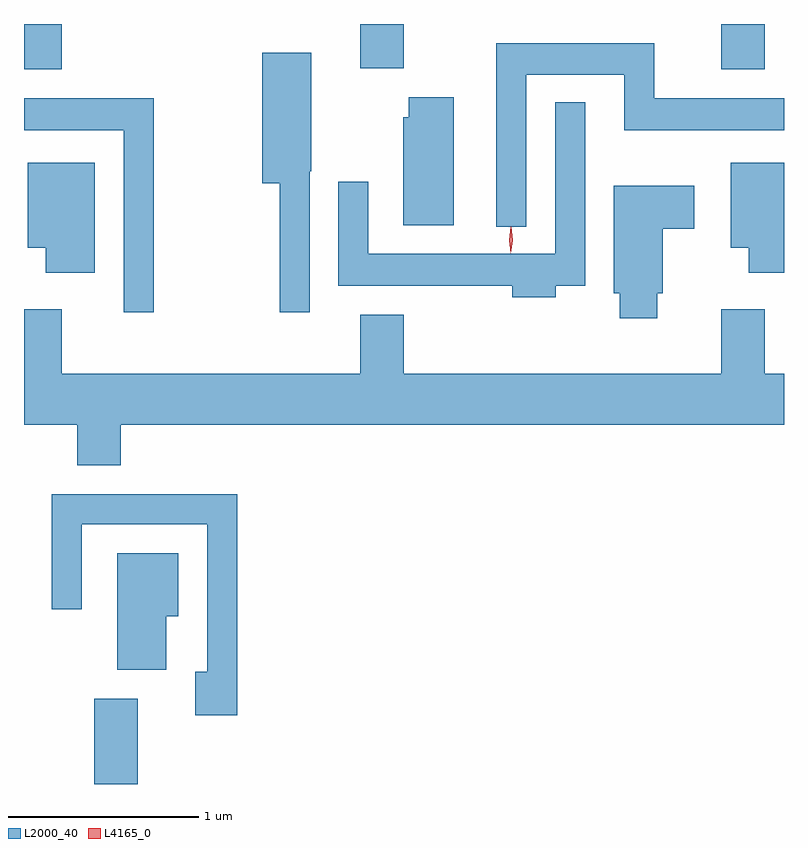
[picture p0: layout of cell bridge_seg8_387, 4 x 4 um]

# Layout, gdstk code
import gdstk
lib = gdstk.Library(unit=1e-6, precision=1e-09)
def R(c, l, rs):  # rectangles x0, y0, x1, y1
    for r in rs: c.add(gdstk.rectangle(r[:2], r[2:], *l))
def P(c, l, *ps):  # polygons
    for p in ps: c.add(gdstk.Polygon(p, *l))
L2000_40 = (2000, 40)
L4165_0 = (4165, 0)

bridge_seg8_387 = lib.new_cell('bridge_seg8_387')
R(bridge_seg8_387, L2000_40, [(684.651,1901.124,684.879,1901.574), (684.281,1904.886,684.479,1905.124), (687.951,1904.886,688.179,1905.124), (686.051,1904.891,686.279,1905.124)])
P(bridge_seg8_387, L2000_40, [(686.924,1904.856),(687.441,1904.856),(687.441,1904.566),(688.281,1904.566),(688.281,1904.734),(687.599,1904.734),(687.599,1905.024),(686.766,1905.024),(686.766,1904.058),(686.924,1904.058)],
  [(685.784,1904.35),(685.794,1904.35),(685.794,1904.974),(685.536,1904.974),(685.536,1904.286),(685.626,1904.286),(685.626,1903.608),(685.784,1903.608)],
  [(686.544,1904.739),(686.306,1904.739),(686.306,1904.634),(686.276,1904.634),(686.276,1904.066),(686.544,1904.066)],
  [(684.964,1904.734),(684.281,1904.734),(684.281,1904.566),(684.806,1904.566),(684.806,1903.608),(684.964,1903.608)],
  [(687.079,1903.746),(687.234,1903.746),(687.234,1904.713),(687.076,1904.713),(687.076,1903.914),(686.094,1903.914),(686.094,1904.293),(685.936,1904.293),(685.936,1903.746),(686.851,1903.746),(686.851,1903.686),(687.079,1903.686)],
  [(688.281,1904.394),(688.001,1904.394),(688.001,1903.946),(688.096,1903.946),(688.096,1903.816),(688.281,1903.816)],
  [(684.654,1904.394),(684.301,1904.394),(684.301,1903.946),(684.396,1903.946),(684.396,1903.816),(684.654,1903.816)],
  [(687.614,1903.706),(687.644,1903.706),(687.644,1904.046),(687.809,1904.046),(687.809,1904.274),(687.386,1904.274),(687.386,1903.706),(687.416,1903.706),(687.416,1903.576),(687.614,1903.576)],
  [(684.789,1903.016),(688.281,1903.016),(688.281,1903.284),(688.179,1903.284),(688.179,1903.624),(687.951,1903.624),(687.951,1903.284),(686.279,1903.284),(686.279,1903.594),(686.051,1903.594),(686.051,1903.284),(684.479,1903.284),(684.479,1903.624),(684.281,1903.624),(684.281,1903.016),(684.561,1903.016),(684.561,1902.801),(684.789,1902.801)],
  [(685.404,1902.649),(684.426,1902.649),(684.426,1902.043),(684.584,1902.043),(684.584,1902.491),(685.246,1902.491),(685.246,1901.714),(685.181,1901.714),(685.181,1901.486),(685.404,1901.486)],
  [(685.029,1902.006),(685.094,1902.006),(685.094,1902.339),(684.771,1902.339),(684.771,1901.726),(685.029,1901.726)])
P(bridge_seg8_387, L4165_0, [(686.844,1903.917),(686.844,1903.918),(686.834,1903.987),(686.844,1904.056),(686.845,1904.056),(686.845,1904.056),(686.854,1903.987),(686.844,1903.918)],
  [(686.844,1903.919),(686.844,1903.92),(686.834,1903.986),(686.844,1904.052),(686.844,1904.053),(686.844,1904.052),(686.854,1903.986),(686.844,1903.92)])

lib.write_gds('bridge_seg8_387.gds')
